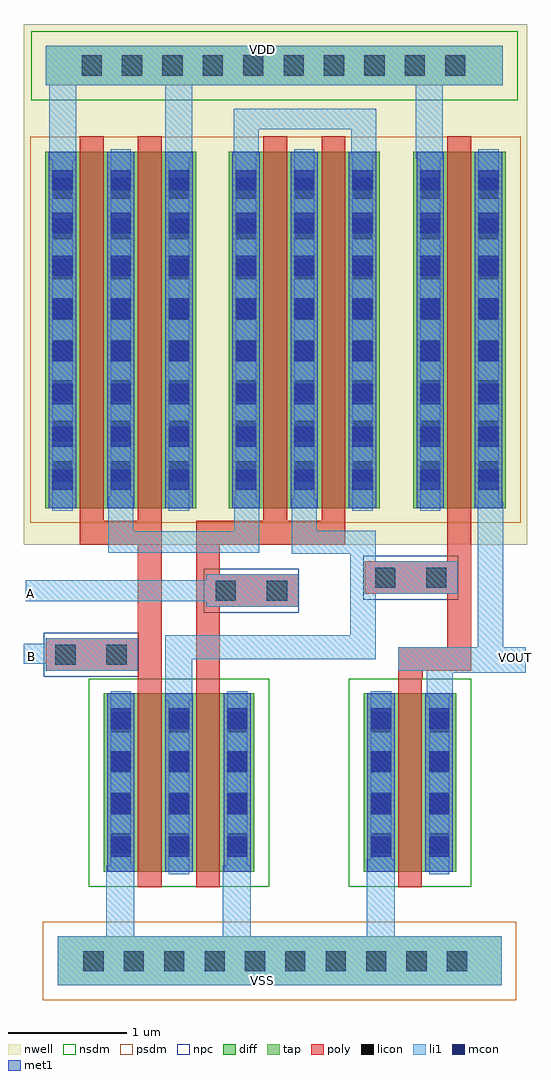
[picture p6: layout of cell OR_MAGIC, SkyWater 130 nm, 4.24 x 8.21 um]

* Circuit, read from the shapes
.subckt OR_MAGIC A B VDD VOUT VSS
XM1 n1 B VSS VSS sky130_fd_pr__nfet_01v8 w=1.5 l=0.2
XM2 VSS A n1 VSS sky130_fd_pr__nfet_01v8 w=1.5 l=0.2
XM3 VOUT n1 VSS VSS sky130_fd_pr__nfet_01v8 w=1.5 l=0.2
XM4 n2 B VDD VDD sky130_fd_pr__pfet_01v8 w=3 l=0.2 m=2
XM5 n1 A n2 VDD sky130_fd_pr__pfet_01v8 w=3 l=0.2 m=2
XM6 VOUT n1 VDD VDD sky130_fd_pr__pfet_01v8 w=3 l=0.2
.ends

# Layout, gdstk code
import gdstk
lib = gdstk.Library(unit=1e-6, precision=1e-09)
def R(c, l, rs):  # rectangles x0, y0, x1, y1
    for r in rs: c.add(gdstk.rectangle(r[:2], r[2:], *l))
def A(c, l, x, y, w, h, nx, ny, dx, dy):  # array of equal rectangles
    R(c, l, [(x+i*dx, y+j*dy, x+i*dx+w, y+j*dy+h) for i in range(nx) for j in range(ny)])
nwell = (64, 20)
diff = (65, 20)
tap = (65, 44)
poly = (66, 20)
licon = (66, 44)
li1 = (67, 20)
mcon = (67, 44)
met1 = (68, 20)
nsdm = (93, 44)
psdm = (94, 20)
npc = (95, 20)

sky130_fd_pr__pfet_01v8_ = lib.new_cell('sky130_fd_pr__pfet_01v8_6WH9DB')
R(sky130_fd_pr__pfet_01v8_, nwell, [(-0.57,-1.81,0.57,1.81)])
R(sky130_fd_pr__pfet_01v8_, diff, [(-0.39,-1.5,0.39,1.5)])
R(sky130_fd_pr__pfet_01v8_, poly, [(-0.1,-1.63,0.1,1.63)])
A(sky130_fd_pr__pfet_01v8_, licon, -0.33, -1.275, 0.17, 0.17, 1, 8, 0, 0.34)
A(sky130_fd_pr__pfet_01v8_, licon, 0.16, -1.275, 0.17, 0.17, 1, 8, 0, 0.34)
R(sky130_fd_pr__pfet_01v8_, li1, [(-0.33,-1.52,-0.16,1.52), (0.16,-1.52,0.33,1.52)])
A(sky130_fd_pr__pfet_01v8_, mcon, -0.33, -1.345, 0.17, 0.17, 1, 8, 0, 0.36)
A(sky130_fd_pr__pfet_01v8_, mcon, 0.16, -1.345, 0.17, 0.17, 1, 8, 0, 0.36)
R(sky130_fd_pr__pfet_01v8_, met1, [(-0.36,-1.5,-0.13,1.5), (0.13,-1.5,0.36,1.5)])
R(sky130_fd_pr__pfet_01v8_, psdm, [(-0.515,-1.625,0.515,1.625)])

sky130_fd_pr__nfet_01v8_ = lib.new_cell('sky130_fd_pr__nfet_01v8_FQGQPX')
R(sky130_fd_pr__nfet_01v8_, diff, [(-0.39,-0.75,0.39,0.75)])
R(sky130_fd_pr__nfet_01v8_, poly, [(-0.1,-0.88,0.1,0.88)])
A(sky130_fd_pr__nfet_01v8_, licon, -0.33, -0.595, 0.17, 0.17, 1, 4, 0, 0.34)
A(sky130_fd_pr__nfet_01v8_, licon, 0.16, -0.595, 0.17, 0.17, 1, 4, 0, 0.34)
R(sky130_fd_pr__nfet_01v8_, li1, [(-0.33,-0.77,-0.16,0.77), (0.16,-0.77,0.33,0.77)])
A(sky130_fd_pr__nfet_01v8_, mcon, -0.33, -0.625, 0.17, 0.17, 1, 4, 0, 0.36)
A(sky130_fd_pr__nfet_01v8_, mcon, 0.16, -0.625, 0.17, 0.17, 1, 4, 0, 0.36)
R(sky130_fd_pr__nfet_01v8_, met1, [(-0.36,-0.75,-0.13,0.75), (0.13,-0.75,0.36,0.75)])
R(sky130_fd_pr__nfet_01v8_, nsdm, [(-0.515,-0.875,0.515,0.875)])

or_magic = lib.new_cell('OR_MAGIC')
R(or_magic, nwell, [(-8.165,7.41,-7.475,7.615), (-6.88,10.66,-6.655,11.03), (-8.99,10.665,-8.765,11.03), (-10.18,11.03,-5.945,11.795)])
R(or_magic, tap, [(-9.895,3.705,-6.16,4.115), (-9.995,11.28,-6.15,11.61)])
R(or_magic, poly, [(-8.73,6.285,-8.53,6.89), (-9.22,6.29,-9.02,6.35), (-7.03,6.29,-6.825,6.35), (-9.995,6.35,-9.02,6.625), (-7.03,6.35,-6.415,6.55), (-6.615,6.55,-6.415,7), (-9.22,6.625,-9.02,7.41), (-8.73,6.89,-7.87,7.165), (-7.31,7,-6.415,7.275), (-8.73,7.165,-8.53,7.41), (-6.615,7.275,-6.415,7.66), (-9.71,7.41,-9.02,7.615), (-8.73,7.41,-7.475,7.615)])
A(or_magic, licon, -9.68, 3.82, 0.17, 0.17, 10, 1, 0.34, 0)
A(or_magic, licon, -9.695, 11.36, 0.17, 0.17, 10, 1, 0.34, 0)
R(or_magic, licon, [(-9.915,6.4,-9.745,6.57), (-9.485,6.4,-9.315,6.57), (-8.565,6.94,-8.395,7.11), (-8.135,6.94,-7.965,7.11), (-7.225,7.05,-7.055,7.22), (-6.795,7.05,-6.625,7.22)])
R(or_magic, li1, [(-9.895,3.705,-6.16,4.115), (-9.485,4.115,-9.25,4.71), (-8.505,4.115,-8.27,4.715), (-7.295,4.115,-7.06,4.765), (-8.99,6.1,-8.765,6.45), (-6.79,6.135,-6.57,6.335), (-6.79,6.335,-5.955,6.35), (-9.995,6.35,-9.22,6.41), (-7.03,6.35,-5.955,6.55), (-10.18,6.41,-9.22,6.58), (-8.99,6.45,-7.22,6.65), (-6.36,6.55,-6.145,7.77), (-9.995,6.58,-9.22,6.625), (-7.435,6.65,-7.22,7), (-8.645,6.89,-7.87,6.935), (-10.165,6.935,-7.87,7.115), (-7.435,7,-6.53,7.275), (-8.645,7.115,-7.87,7.165), (-7.435,7.275,-7.22,7.335), (-7.925,7.335,-7.22,7.53), (-9.47,7.345,-8.2,7.525), (-9.47,7.525,-9.26,7.82), (-8.41,7.525,-8.2,7.79), (-7.925,7.53,-7.715,7.8), (-9.965,10.65,-9.74,11.28), (-6.88,10.66,-6.655,11.28), (-8.99,10.665,-8.765,11.28), (-7.425,10.69,-7.215,10.91), (-8.415,10.7,-8.205,10.91), (-8.415,10.91,-7.215,11.08), (-9.995,11.28,-6.15,11.61)])
R(or_magic, nsdm, [(-10.12,11.155,-6.025,11.735)])
R(or_magic, psdm, [(-10.02,3.58,-6.035,4.24), (-8.605,7.595,-8.58,10.845), (-7.06,7.595,-7.03,10.845)])
R(or_magic, npc, [(-10.015,6.3,-9.215,6.67), (-8.665,6.84,-7.865,7.21), (-7.325,6.95,-6.525,7.32)])
or_magic.add(gdstk.Reference(sky130_fd_pr__pfet_01v8_, (-7.575,9.22)))
or_magic.add(gdstk.Reference(sky130_fd_pr__pfet_01v8_, (-9.61,9.22)))
or_magic.add(gdstk.Reference(sky130_fd_pr__pfet_01v8_, (-9.12,9.22)))
or_magic.add(gdstk.Reference(sky130_fd_pr__pfet_01v8_, (-8.065,9.22)))
or_magic.add(gdstk.Reference(sky130_fd_pr__pfet_01v8_, (-6.515,9.22)))
or_magic.add(gdstk.Reference(sky130_fd_pr__nfet_01v8_, (-8.63,5.41)))
or_magic.add(gdstk.Reference(sky130_fd_pr__nfet_01v8_, (-9.12,5.41)))
or_magic.add(gdstk.Reference(sky130_fd_pr__nfet_01v8_, (-6.93,5.41)))
or_magic.add(gdstk.Label('VDD', (-8.175,11.58), layer=67, texttype=5))
or_magic.add(gdstk.Label('VOUT', (-6.04,6.46), layer=67, texttype=5))
or_magic.add(gdstk.Label('A', (-10.125,7), layer=67, texttype=5))
or_magic.add(gdstk.Label('B', (-10.12,6.475), layer=67, texttype=5))
or_magic.add(gdstk.Label('VSS', (-8.175,3.74), layer=67, texttype=5))

lib.write_gds('OR_MAGIC.gds')
